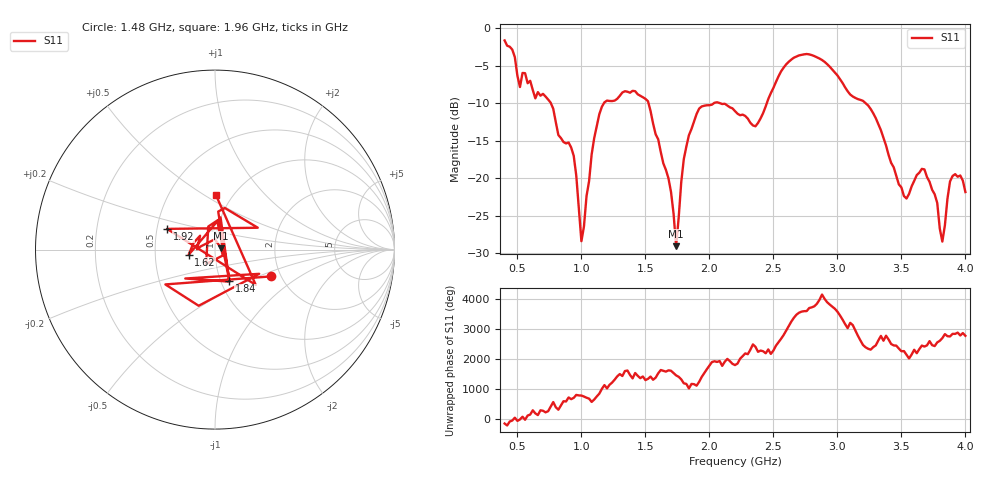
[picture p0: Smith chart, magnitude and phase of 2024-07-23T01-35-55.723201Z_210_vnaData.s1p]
!Created with skrf (http://scikit-rf.org).
# Hz S RI R 50.0
!freq ReS11 ImS11
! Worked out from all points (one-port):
!   181 points, 400 MHz to 4 GHz, reference 50 ohm
!   lowest |S11| = -29.1 dB at 1.74 GHz (marker M1), VSWR 1.07, Z = 53.6 + j0.69 ohm
!   |S11| at or under -10 dB: 761.4 MHz to 1.176 GHz (414.8 MHz wide, 42.8 % of centre); 1.524 GHz to 2.036 GHz (511.7 MHz wide, 28.7 % of centre); 3.22 GHz to end of sweep (the widest 3 of 4)
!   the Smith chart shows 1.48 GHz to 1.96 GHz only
!   S11 on the Smith chart (normalised r, x): 1.48 GHz: 1.78, -0.60; 1.62 GHz: 0.74, -0.04; 1.84 GHz: 1.10, -0.40; 1.92 GHz: 0.57, +0.14; 1.96 GHz: 0.84, +0.56
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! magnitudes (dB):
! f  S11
! 400 MHz  -1.6
! 520 MHz  -7.8
! 760 MHz  -9.9
! 860 MHz  -15.2
! 940 MHz  -17.0
! 1 GHz  -28.4
! 1.14 GHz  -11.5
! 1.3 GHz  -9.0
! 1.48 GHz  -9.2
! 1.62 GHz  -16.5
! 1.7 GHz  -21.8
! 1.74 GHz  -29.1
! 1.76 GHz  -25.3
! 1.8 GHz  -17.5
! 1.84 GHz  -14.3
! 1.92 GHz  -10.7
! 1.96 GHz  -10.3
! 2.2 GHz  -11.1
! 2.36 GHz  -13.1
! 2.66 GHz  -3.9
! 3.1 GHz  -8.8
! 3.28 GHz  -11.4
! 3.56 GHz  -22.1
! 3.68 GHz  -18.8
! 3.78 GHz  -23.3
! 3.82 GHz  -28.5
! 3.88 GHz  -20.4
! 4 GHz  -21.9
